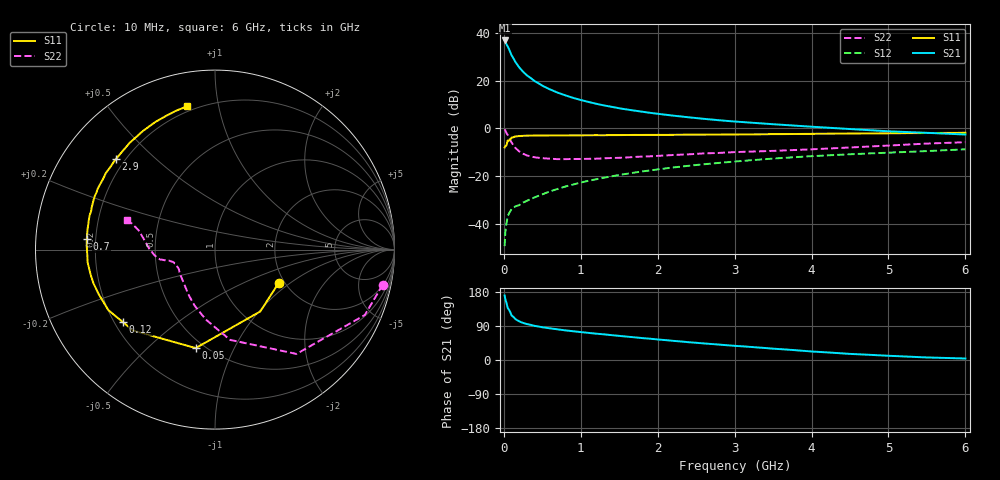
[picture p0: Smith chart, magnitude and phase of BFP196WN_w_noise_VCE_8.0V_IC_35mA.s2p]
! (c) 2017  Infineon Technologies AG, Munich
! Infineon Technologies  Discrete & RF Semiconductors
! BFP196WN
! VCE =  8.0 V,  IC =  35 mA
! Common Emitter S-Parameters:  Jan 2017
# GHz  S  MA  R  50
!  f  S11  S21  S12  S22
! GHz  MAG  ANG  MAG  ANG  MAG  ANG  MAG  ANG
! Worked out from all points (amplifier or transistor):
!   77 points, 10 MHz to 6 GHz, reference 50 ohm
!   highest |S21| = 36.7 dB at 10 MHz (marker M1)
!   |S21| within 3 dB of that: start of sweep to 58.23 MHz
!   unconditionally stable (mu >= 1): 788.8 MHz to 2.691 GHz
!   at 130 MHz: K = 0.43, MSG = 31.0 dB, |S12| = -33.0 dB
!   at 2.2 GHz: K = 1.02, MAG = 9.9 dB, |S12| = -16.3 dB
!   at 6 GHz: K = 0.89, MSG = 3.1 dB, |S12| = -8.7 dB
!   lowest NFmin = 1.11 dB at 450 MHz
!   S11 on the Smith chart (normalised r, x): 10 MHz: 1.87, -0.82; 50 MHz: 0.45, -0.72; 120 MHz: 0.23, -0.33; 700 MHz: 0.17, +0.04; 2.9 GHz: 0.17, +0.38; 6 GHz: 0.17, +0.81
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0.01  0.4005 -27.4  68.63 170.2  0.0035 78.9  0.955 -11.8
0.02  0.4271 -53.8  64.17 160.0  0.007 79.8  0.9107 -23.6
0.05  0.5591 -101.1  51.86 137.5  0.0148 56.6  0.7377 -52.0
0.1  0.642 -135.4  33.84 117.7  0.0207 46.5  0.5102 -80.5
0.12  0.653 -141.7  29.98 114.5  0.0219 45.9  0.4584 -86.3
0.15  0.6834 -150.5  24.42 107.9  0.0237 45.0  0.3923 -97.6
0.2  0.6939 -159.0  18.82 101.9  0.0252 45.8  0.3325 -109.9
0.25  0.7028 -164.5  15.28 97.8  0.0285 48.7  0.2978 -118.5
0.3  0.707 -168.7  12.84 94.8  0.0309 50.4  0.2731 -125.8
0.4  0.7133 -174.3  9.739 90.0  0.0365 55.4  0.2503 -135.5
0.5  0.7124 -178.5  7.813 86.5  0.0422 58.5  0.2399 -142.7
0.6  0.7151 178.3  6.531 83.5  0.0488 60.9  0.234 -148.0
0.7  0.7164 175.4  5.596 80.9  0.0547 62.8  0.2291 -151.5
0.9  0.7192 170.5  4.353 75.9  0.0676 64.5  0.2308 -156.2
1.1  0.7224 166.5  3.576 71.6  0.081 65.7  0.2325 -159.6
1.5  0.7278 159.5  2.642 63.6  0.1069 65.3  0.2443 -164.0
2.1  0.7366 149.6  1.938 52.5  0.1467 62.8  0.2735 -167.2
2.9  0.7477 137.5  1.44 39.0  0.1977 57.7  0.3152 -170.5
3.1  0.7506 134.5  1.361 36.1  0.2102 56.1  0.3251 -172.2
4.1  0.775 119.9  1.065 21.3  0.2691 48.2  0.3737 177.4
5.1  0.7954 109.0  0.86 10.3  0.3175 40.8  0.4486 165.1
6  0.8137 101.0  0.748 3.9  0.3671 34.7  0.5165 161.4
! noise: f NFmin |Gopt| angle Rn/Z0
0.45  1.11  0.47  179  0.05
0.9  1.24  0.53  186  0.05
1.9  2.17  0.68  212  0.13
2.4  2.91  0.69  219  0.25
